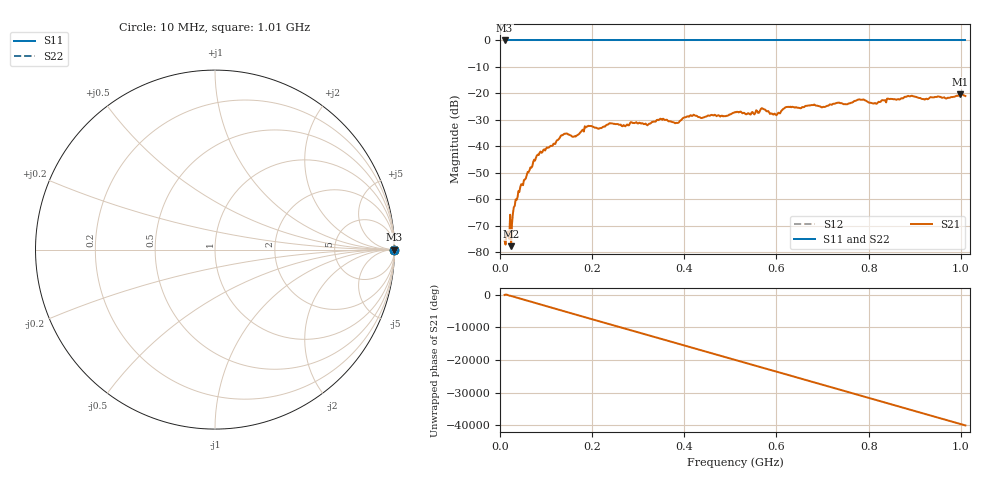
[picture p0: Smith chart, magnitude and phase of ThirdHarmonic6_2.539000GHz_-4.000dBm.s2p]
! 8/17/2025 5:06:47 AM
! C:\ANRITSUVNA\TEMP\TEMP.S2P
! CHANNEL.1
! TR.MEASUREMENT
! RAW.DATA
! RF.CORRECTION.OFF
! AVERAGING.OFF
! IF.BANDWIDTH: 5KHZ
! SWEEPTYPE:  FREQ.SWEEP(Linear)
! Reference Plane Port Info
! PORT:  PORT1  PORT2
! DISTANCE:  0  m  0  m
! TIME:  0  s  0  s
! PHASE.OFFSET:  0  deg.  0  deg.
! LOSS:  0  dB  0  dB
! REF.LOSS:  0  dB  0  dB
! REF.FREQ:  0  Hz  0  Hz
! Power Info
! POWER:  -20  dBm  -20  dBm
! EFF.POWER:  -20  dBm  -20  dBm
! SOURCE.ATTEN:  0  dB  0  dB
! TEST.ATTEN:  0  dB  0  dB
# GHZ S RI R 50.0
! FREQ.GHZ  S11RE  S11IM  S21RE  S21IM  S12RE  S12IM  S22RE  S22IM
!; PortSelection: Port_12
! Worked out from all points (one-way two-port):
!   501 points, 10 MHz to 1.01 GHz, reference 50 ohm
!   highest |S21| = -20.31 dB at 998 MHz (marker M1); lowest = -77.8 dB at 24 MHz (marker M2)
!   lowest |S11| = 0.0 dB at 10 MHz (marker M3)
!   |S11| at or under -10 dB: nowhere
!   |S22| runs from 0.0 to 0.0 dB; largest |S21 - S12| = 1.1
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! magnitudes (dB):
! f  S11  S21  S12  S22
! 10 MHz  0.0  -75.7  0.0  0.0
! 24 MHz  0.0  -77.8  0.0  0.0
! 32 MHz  0.0  -62.5  0.0  0.0
! 44 MHz  0.0  -55.5  0.0  0.0
! 84 MHz  0.0  -43.3  0.0  0.0
! 136 MHz  0.0  -35.8  0.0  0.0
! 162 MHz  0.0  -36.2  0.0  0.0
! 178 MHz  0.0  -34.0  0.0  0.0
! 194 MHz  0.0  -32.4  0.0  0.0
! 322 MHz  0.0  -31.7  0.0  0.0
! 344 MHz  0.0  -30.1  0.0  0.0
! 384 MHz  0.0  -31.2  0.0  0.0
! 416 MHz  0.0  -28.5  0.0  0.0
! 510 MHz  0.0  -27.1  0.0  0.0
! 570 MHz  0.0  -25.7  0.0  0.0
! 598 MHz  0.0  -28.0  0.0  0.0
! 622 MHz  0.0  -25.2  0.0  0.0
! 678 MHz  0.0  -24.4  0.0  0.0
! 814 MHz  0.0  -23.7  0.0  0.0
! 844 MHz  0.0  -22.1  0.0  0.0
! 998 MHz  0.0  -20.3  0.0  0.0
! 1.01 GHz  0.0  -21.0  0.0  0.0
